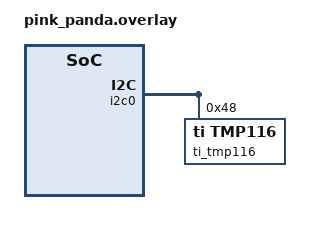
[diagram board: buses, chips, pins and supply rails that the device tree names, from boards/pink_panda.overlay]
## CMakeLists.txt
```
#-------------------------------------------------------------------------------
# Zephyr Example Application
#
# Copyright (c) 2022 François Gervais
# SPDX-License-Identifier: Apache-2.0

list(APPEND OVERLAY_CONFIG "thread-med.conf")
list(APPEND OVERLAY_CONFIG "secret.conf")
list(APPEND OVERLAY_CONFIG "dns.conf")
list(APPEND OVERLAY_CONFIG "mqtt.conf")

cmake_minimum_required(VERSION 3.20.0)
list(APPEND BOARD_ROOT ${CMAKE_CURRENT_SOURCE_DIR})
find_package(Zephyr REQUIRED HINTS $ENV{ZEPHYR_BASE})

execute_process(COMMAND git describe
                WORKING_DIRECTORY ${CMAKE_CURRENT_SOURCE_DIR}
                OUTPUT_VARIABLE GIT_DESCRIBE
                ERROR_QUIET)
string(STRIP "${GIT_DESCRIBE}" GIT_DESCRIBE)
STRING(REGEX MATCH "[0-9]+\\.[0-9]+\\.[0-9]+"
       VERSION "${GIT_DESCRIBE}")

project(app LANGUAGES C VERSION ${VERSION})

configure_file(app_version.h.in ${CMAKE_BINARY_DIR}/app/include/app_version.h)
target_include_directories(app PRIVATE ${CMAKE_BINARY_DIR}/app/include src)

target_sources(app PRIVATE src/drv_ir.c)
target_sources(app PRIVATE src/mqtt.c)
target_sources(app PRIVATE src/ha.c)
target_sources(app PRIVATE src/openthread.c)
target_sources(app PRIVATE src/main.c)

zephyr_include_directories(
 configuration/${BOARD}
 )
```

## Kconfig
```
# Private config options

mainmenu "AC Control Application"

config APP_MQTT_SERVER_HOSTNAME
	string "MQTT server hostname"
	help
	  Hostname of MQTT server.

config APP_MQTT_SERVER_ADDR
	string "MQTT server address"
	help
	  MQTT server address.

config APP_MQTT_SERVER_PORT
	int "MQTT server port number"
	default 1883
	help
	  MQTT server port number.

config APP_POLL_THREAD_STACK_SIZE
	int "Poll thread stack size"
	default 2048
	help
	  Poll thread stack size.

config APP_STATE_INPUT_PORT
	int "GPIO port number for state input"
	default 0
	help
	  GPIO port number for state input.

config APP_STATE_INPUT_PIN
	int "GPIO pin number for state input"
	default 21
	help
	  GPIO pin number for state input.

source "Kconfig.zephyr"
```

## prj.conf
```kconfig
CONFIG_APP_MQTT_SERVER_HOSTNAME="home.home.arpa"
CONFIG_APP_STATE_INPUT_PIN=10

CONFIG_SENSOR=y
CONFIG_WATCHDOG=y
CONFIG_SERIAL=y
CONFIG_HEAP_MEM_POOL_SIZE=2048

CONFIG_PM_DEVICE=y

CONFIG_CAF=y
CONFIG_CAF_BUTTONS=y
CONFIG_CAF_BUTTONS_POLARITY_INVERSED=y

CONFIG_NRFX_GPIOTE_NUM_OF_EVT_HANDLERS=1
CONFIG_NRFX_PWM0=y

CONFIG_EVENTS=y

CONFIG_CONSOLE=y
CONFIG_UART_CONSOLE=y
CONFIG_HWINFO=y
CONFIG_NEWLIB_LIBC_FLOAT_PRINTF=y
CONFIG_JSON_LIBRARY=y
CONFIG_LOG=y
```

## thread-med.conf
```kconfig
CONFIG_FPU=y

CONFIG_SYSTEM_WORKQUEUE_STACK_SIZE=2048

# CONFIG_OPENTHREAD_MANUAL_START is not set

CONFIG_OPENTHREAD_SLAAC=y
CONFIG_OPENTHREAD_CHANNEL=15
CONFIG_OPENTHREAD_NETWORK_NAME="home"
CONFIG_OPENTHREAD_XPANID="42:24:00:00:00:00:10:00"
CONFIG_OPENTHREAD_MTD=y

CONFIG_NETWORKING=y
CONFIG_NET_L2_OPENTHREAD=y

CONFIG_NET_TCP=y
```

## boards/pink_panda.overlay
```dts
/* Copyright (c) 2020 Nordic Semiconductor ASA
 *
 * SPDX-License-Identifier: LicenseRef-Nordic-5-Clause
 */

/ {
	/*
	* In some default configurations within the nRF Connect SDK,
	* e.g. on nRF52840, the chosen zephyr,entropy node is &cryptocell.
	* This devicetree overlay ensures that default is overridden wherever it
	* is set, as this application uses the RNG node for entropy exclusively.
	*/
	chosen {
		zephyr,entropy = &rng;
	};
};
&pinctrl {
	uart0_default: uart0_default {
		group1 {
			psels = <NRF_PSEL(UART_TX, 0, 20)>,
				<NRF_PSEL(UART_RTS, 0, 17)>;
		};
		group2 {
			psels = <NRF_PSEL(UART_RX, 0, 24)>,
				<NRF_PSEL(UART_CTS, 0, 22)>;
			bias-pull-up;
		};
	};

	uart0_sleep: uart0_sleep {
		group1 {
			psels = <NRF_PSEL(UART_TX, 0, 20)>,
				<NRF_PSEL(UART_RX, 0, 24)>,
				<NRF_PSEL(UART_RTS, 0, 17)>,
				<NRF_PSEL(UART_CTS, 0, 22)>;
			low-power-enable;
		};
	};

	i2c0_default: i2c0_default {
		group1 {
			psels = <NRF_PSEL(TWIM_SDA, 1, 10)>,
				<NRF_PSEL(TWIM_SCL, 1, 14)>;
		};
	};

	i2c0_sleep: i2c0_sleep {
		group1 {
			psels = <NRF_PSEL(TWIM_SDA, 1, 10)>,
				<NRF_PSEL(TWIM_SCL, 1, 14)>;
			low-power-enable;
		};
	};

	i2c1_default: i2c1_default {
		group1 {
			psels = <NRF_PSEL(TWIM_SDA, 0, 30)>,
				<NRF_PSEL(TWIM_SCL, 0, 31)>;
		};
	};

	i2c1_sleep: i2c1_sleep {
		group1 {
			psels = <NRF_PSEL(TWIM_SDA, 0, 30)>,
				<NRF_PSEL(TWIM_SCL, 0, 31)>;
			low-power-enable;
		};
	};

	pwm0_default: pwm0_default {
		group1 {
			psels = <NRF_PSEL(PWM_OUT0, 0, 9)>;
		};
	};

	pwm0_sleep: pwm0_sleep {
		group1 {
			psels = <NRF_PSEL(PWM_OUT0, 0, 9)>;
			low-power-enable;
		};
	};

	spi0_default: spi0_default {
		group1 {
			psels = <NRF_PSEL(SPIM_SCK, 0, 27)>,
				<NRF_PSEL(SPIM_MOSI, 0, 26)>,
				<NRF_PSEL(SPIM_MISO, 1, 10)>;
		};
	};

	spi0_sleep: spi0_sleep {
		group1 {
			psels = <NRF_PSEL(SPIM_SCK, 0, 27)>,
				<NRF_PSEL(SPIM_MOSI, 0, 26)>,
				<NRF_PSEL(SPIM_MISO, 1, 10)>;
			low-power-enable;
		};
	};

	spi1_default: spi1_default {
		group1 {
			psels = <NRF_PSEL(SPIM_SCK, 0, 31)>,
				<NRF_PSEL(SPIM_MOSI, 0, 30)>,
				<NRF_PSEL(SPIM_MISO, 1, 13)>;
		};
	};

	spi1_sleep: spi1_sleep {
		group1 {
			psels = <NRF_PSEL(SPIM_SCK, 0, 31)>,
				<NRF_PSEL(SPIM_MOSI, 0, 30)>,
				<NRF_PSEL(SPIM_MISO, 1, 13)>;
			low-power-enable;
		};
	};

};
&adc {
	status = "disabled";
};
&uart1 {
	status = "disabled";
};
// &pwm0 {
// 	status = "disabled";
// };
&i2c0 {
	ti_tmp116: ti_tmp116@48 {
		compatible = "ti,tmp116";
		reg = <0x48>;
		#address-cells = <1>;
		#size-cells = <0>;

		eeprom: ti_tmp116_eeprom@0 {
			compatible = "ti,tmp116-eeprom";
			reg = <0x0>;
			read-only;
		};
	};
};
&spi0 {
	status = "disabled";
};
&spi1 {
	status = "disabled";
};
&spi2 {
	status = "disabled";
};
&spi3 {
	status = "disabled";
};
&qspi {
	status = "disabled";
};
&usbd {
	status = "disabled";
};
// Waiting from https://github.com/zephyrproject-rtos/zephyr/pull/55955
// &gpio1 {
// 	status = "disabled";
// };
```

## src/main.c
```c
#include <zephyr/drivers/gpio.h>
#include <zephyr/drivers/sensor.h>
#include <zephyr/kernel.h>
#include <zephyr/pm/device.h>

#include <app_event_manager.h>

#define MODULE main
#include <caf/events/module_state_event.h>
#include <caf/events/button_event.h>

#include <zephyr/logging/log.h>
LOG_MODULE_REGISTER(main, LOG_LEVEL_DBG);

#include "drv_ir.h"
#include "ha.h"
#include "openthread.h"


#define TMP116_NODE DT_COMPAT_GET_ANY_STATUS_OKAY(ti_tmp116)

#define CHANGE_MODE_EVENT_OFF		BIT(0)
#define CHANGE_MODE_EVENT_COOL		BIT(1)
#define CHANGE_SETPOINT_EVENT		BIT(2)
#define CHANGE_STATE_EVENT		BIT(8)

#define INIT_RETRY_DELAY_MSEC		100
#define INIT_RETRY_TIMEOUT_MSEC		(5 * 1000)


static double temperature_setpoint = -1;
static bool current_state_off = true;
static bool temperature_setpoint_initialized = false;
static bool current_state_initialized = false;
static bool enabled;

static K_EVENT_DEFINE(ac_control_events);

static void mode_change_callback(const char *mode)
{
	if (!current_state_initialized) {
		current_state_off = strcmp(mode, "off");
		current_state_initialized = true;
		return;
	}

	if (!enabled) {
		LOG_INF("currently disabled");
		return;
	}

	if (strcmp(mode, "cool") == 0) {
		LOG_INF("❄️  mode %s", mode);
		k_event_post(&ac_control_events, CHANGE_MODE_EVENT_COOL);
	}
	else if (strcmp(mode, "off") == 0) {
		LOG_INF("🔌 mode %s", mode);
		k_event_post(&ac_control_events, CHANGE_MODE_EVENT_OFF);
	}
	else {
		LOG_WRN("unknown mode: %s", mode);
	}
}

static void temperature_setpoint_change_callback(double setpoint)
{
	LOG_INF("🌡️  setpoint: %g°C", setpoint);
	temperature_setpoint = setpoint;

	if (!temperature_setpoint_initialized) {
		temperature_setpoint_initialized = true;
		return;
	}

	if (!enabled) {
		LOG_INF("currently disabled");
		return;
	}

	k_event_post(&ac_control_events, CHANGE_SETPOINT_EVENT);
}

double get_current_temperature(const struct device *const dev)
{
	int ret;
	struct sensor_value temp_value;

	ret = sensor_sample_fetch(dev);
	if (ret) {
		LOG_ERR("Failed to fetch measurements (%d)", ret);
		return 0;
	}

	ret = sensor_channel_get(dev, SENSOR_CHAN_AMBIENT_TEMP,
				 &temp_value);
	if (ret) {
		LOG_ERR("Failed to get measurements (%d)", ret);
		return 0;
	}

	return sensor_value_to_double(&temp_value);
}

bool get_current_device_state(const struct device *port, gpio_pin_t pin)
{
	return (bool)gpio_pin_get_raw(port, pin);
}

void broadcast_current_temp(const struct device *pwm0,
			    const struct device *const tmp117)
{
	int ret;
	double current_temp;

	current_temp = get_current_temperature(tmp117);
	LOG_INF("   └── 🌡️  current temp: %g°C", current_temp);

	ha_send_current_temp(current_temp);

	if (!current_state_off) {
		ret = drv_ir_send_ifeel(pwm0, current_temp);
		if (ret < 0) {
			LOG_ERR("could not send IR command");
		}
	}
}

void main(void)
{
	uint32_t events;
	int ret;
	int retry = 0;

	const struct device *pwm0 = DEVICE_DT_GET(DT_NODELABEL(pwm0));
	const struct device *gpios[] = {
		DEVICE_DT_GET(DT_NODELABEL(gpio0)),
		DEVICE_DT_GET(DT_NODELABEL(gpio1)),
	};
	const struct device *const tmp117 = DEVICE_DT_GET(TMP116_NODE);


	LOG_INF("\n\n👟 MAIN START 👟\n");

	if (app_event_manager_init()) {
		LOG_ERR("Event manager not initialized");
	} else {
		module_set_state(MODULE_STATE_READY);
	}

	if (!device_is_ready(tmp117)) {
		LOG_ERR("%s: device not ready", tmp117->name);
		return;
	}
	LOG_INF("Device %s - %p is ready", tmp117->name, tmp117);

	openthread_enable_ready_flag();

	while (!openthread_ready)
		k_sleep(K_MSEC(100));

	// Something else is not ready, not sure what
	k_sleep(K_MSEC(100));

	ha_start(mode_change_callback, temperature_setpoint_change_callback);

	enabled = get_current_device_state(gpios[CONFIG_APP_STATE_INPUT_PORT],
					   CONFIG_APP_STATE_INPUT_PIN);
	// Will trigger a state change event on first wait to send hw state to HA
	k_event_post(&ac_control_events, CHANGE_STATE_EVENT);

	while (!temperature_setpoint_initialized || !current_state_initialized) {
		retry++;
		if (retry % 10) {
			LOG_INF("waiting initialization");
		}
		if (retry >= (int)(INIT_RETRY_TIMEOUT_MSEC / INIT_RETRY_DELAY_MSEC)) {
			if (!temperature_setpoint_initialized) {
				temperature_setpoint = 22;
				temperature_setpoint_initialized = true;
			}
			if (!current_state_initialized) {
				current_state_off = true;
				current_state_initialized = true;
			}
			break;
		}
		k_sleep(K_MSEC(INIT_RETRY_DELAY_MSEC));
	}

	LOG_INF("🆗 initialized");

	broadcast_current_temp(pwm0, tmp117);

	LOG_INF("┌──────────────────────────────────────────────────────────┐");
	LOG_INF("│ Entering main loop                                       │");
	LOG_INF("└──────────────────────────────────────────────────────────┘");

	while (1) {
		LOG_INF("💤 wait");

		events = k_event_wait(&ac_control_events,
			     (CHANGE_STATE_EVENT |
			      CHANGE_SETPOINT_EVENT |
			      CHANGE_MODE_EVENT_COOL |
			      CHANGE_MODE_EVENT_OFF),
			     false, K_MINUTES(3));

		k_event_set(&ac_control_events, 0);

		LOG_INF("⏰ events: %08x", events);

		if (events == 0) {
			LOG_INF("📡 broadcast current temperature");
			broadcast_current_temp(pwm0, tmp117);
			continue;
		}

		if (current_state_off && (events & CHANGE_MODE_EVENT_COOL)) {
			LOG_INF("📡 turn ON");
			ret = drv_ir_send_on(pwm0, temperature_setpoint);
			if (ret < 0) {
				LOG_ERR("could not send IR command");
			}
			current_state_off = false;

			k_sleep(K_SECONDS(1));
			broadcast_current_temp(pwm0, tmp117);

		}
		else if (!current_state_off && (events & CHANGE_MODE_EVENT_OFF)) {
			LOG_INF("📡 turn OFF");
			ret = drv_ir_send_off(pwm0, temperature_setpoint);
			if (ret < 0) {
				LOG_ERR("could not send IR command");
			}
			current_state_off = true;
		}

		if ((events & CHANGE_SETPOINT_EVENT) && !current_state_off) {
			LOG_INF("📡 change setpoint: %g°C", temperature_setpoint);
			ret = drv_ir_send_on(pwm0, temperature_setpoint);
			if (ret < 0) {
				LOG_ERR("could not send IR command");
			}

			k_sleep(K_SECONDS(1));
			broadcast_current_temp(pwm0, tmp117);
		}

		if (events & CHANGE_STATE_EVENT) {
			if (enabled) {
				LOG_INF("✅ enabled");
			}
			else {
				LOG_INF("❌ disabled");
			}
			ha_send_current_state(enabled);
		}
	}
}

static bool event_handler(const struct app_event_header *eh)
{
	const struct button_event *evt;

	if (is_button_event(eh)) {
		evt = cast_button_event(eh);

		if (!evt->pressed) {
			enabled = true;
		}
		else {
			enabled = false;
		}

		k_event_post(&ac_control_events, CHANGE_STATE_EVENT);
	}

	return true;
}

APP_EVENT_LISTENER(MODULE, event_handler);
APP_EVENT_SUBSCRIBE(MODULE, button_event);
```

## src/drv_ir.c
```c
/**
 * Copyright (c) 2016 - 2018, Nordic Semiconductor ASA
 * 
 * All rights reserved.
 * 
 * Redistribution and use in source and binary forms, with or without modification,
 * are permitted provided that the following conditions are met:
 * 
 * 1. Redistributions of source code must retain the above copyright notice, this
 *    list of conditions and the following disclaimer.
 * 
 * 2. Redistributions in binary form, except as embedded into a Nordic
 *    Semiconductor ASA integrated circuit in a product or a software update for
 *    such product, must reproduce the above copyright notice, this list of
 *    conditions and the following disclaimer in the documentation and/or other
 *    materials provided with the distribution.
 * 
 * 3. Neither the name of Nordic Semiconductor ASA nor the names of its
 *    contributors may be used to endorse or promote products derived from this
 *    software without specific prior written permission.
 * 
 * 4. This software, with or without modification, must only be used with a
 *    Nordic Semiconductor ASA integrated circuit.
 * 
 * 5. Any software provided in binary form under this license must not be reverse
 *    engineered, decompiled, modified and/or disassembled.
 * 
 * THIS SOFTWARE IS PROVIDED BY NORDIC SEMICONDUCTOR ASA "AS IS" AND ANY EXPRESS
 * OR IMPLIED WARRANTIES, INCLUDING, BUT NOT LIMITED TO, THE IMPLIED WARRANTIES
 * OF MERCHANTABILITY, NONINFRINGEMENT, AND FITNESS FOR A PARTICULAR PURPOSE ARE
 * DISCLAIMED. IN NO EVENT SHALL NORDIC SEMICONDUCTOR ASA OR CONTRIBUTORS BE
 * LIABLE FOR ANY DIRECT, INDIRECT, INCIDENTAL, SPECIAL, EXEMPLARY, OR
 * CONSEQUENTIAL DAMAGES (INCLUDING, BUT NOT LIMITED TO, PROCUREMENT OF SUBSTITUTE
 * GOODS OR SERVICES; LOSS OF USE, DATA, OR PROFITS; OR BUSINESS INTERRUPTION)
 * HOWEVER CAUSED AND ON ANY THEORY OF LIABILITY, WHETHER IN CONTRACT, STRICT
 * LIABILITY, OR TORT (INCLUDING NEGLIGENCE OR OTHERWISE) ARISING IN ANY WAY OUT
 * OF THE USE OF THIS SOFTWARE, EVEN IF ADVISED OF THE POSSIBILITY OF SUCH DAMAGE.
 * 
 *  * Copyright (c) 2018, Cue Health Inc
 *
 * SPDX-License-Identifier: Apache-2.0
 */

#include <nrfx_pwm.h>
#include <zephyr/drivers/pinctrl.h>
#include <zephyr/pm/device.h>

#include <zephyr/logging/log.h>
LOG_MODULE_REGISTER(drv_ir, LOG_LEVEL_DBG);


#define NEC_GUARD_ZEROS         1
#define TRAILING_SEQUENCE_BITS  8
#define FRAME_BITS              28
#define EXT_FRAME_BITS          32
#define IFEEL_FRAME_BITS        8

#define NEC_TOP_VALUE           421      // 38kHz carrier 26.3125 usec for 16MHz PWM_CLK
#define NEC_SYMBOL_REPEATS      21       // repeat each symbol 21 times - 21*26.3125=552.5625 us

#define NEC_MARK_SYMBOL         0x808C   // 140/421 (1/16000000 sec)  - duty 1/3
#define NEC_SPACE_SYMBOL        0x8000


// 9 ms high, 4.4 ms low
const uint16_t NEC_START[] =
	{ NEC_MARK_SYMBOL,  NEC_MARK_SYMBOL,  NEC_MARK_SYMBOL,  NEC_MARK_SYMBOL, \
	  NEC_MARK_SYMBOL,  NEC_MARK_SYMBOL,  NEC_MARK_SYMBOL,  NEC_MARK_SYMBOL, \
	  NEC_MARK_SYMBOL,  NEC_MARK_SYMBOL,  NEC_MARK_SYMBOL,  NEC_MARK_SYMBOL, \
	  NEC_MARK_SYMBOL,  NEC_MARK_SYMBOL,  NEC_MARK_SYMBOL,  NEC_MARK_SYMBOL, \
	  NEC_SPACE_SYMBOL, NEC_SPACE_SYMBOL, NEC_SPACE_SYMBOL, NEC_SPACE_SYMBOL,\
	  NEC_SPACE_SYMBOL, NEC_SPACE_SYMBOL, NEC_SPACE_SYMBOL, NEC_SPACE_SYMBOL};

// 6 ms high, 3 ms low
const uint16_t IFEEL_START[] =
	{ NEC_MARK_SYMBOL,  NEC_MARK_SYMBOL,  NEC_MARK_SYMBOL,  NEC_MARK_SYMBOL, \
	  NEC_MARK_SYMBOL,  NEC_MARK_SYMBOL,  NEC_MARK_SYMBOL,  NEC_MARK_SYMBOL, \
	  NEC_MARK_SYMBOL,  NEC_MARK_SYMBOL,					 \
	  NEC_SPACE_SYMBOL, NEC_SPACE_SYMBOL, NEC_SPACE_SYMBOL, NEC_SPACE_SYMBOL,\
	  NEC_SPACE_SYMBOL };

// 1010 0101
const uint16_t TRAILING_SEQUENCE[] =
	{ NEC_MARK_SYMBOL, NEC_SPACE_SYMBOL, NEC_SPACE_SYMBOL , NEC_SPACE_SYMBOL, \
	  NEC_MARK_SYMBOL, NEC_SPACE_SYMBOL,					  \
	  NEC_MARK_SYMBOL, NEC_SPACE_SYMBOL, NEC_SPACE_SYMBOL , NEC_SPACE_SYMBOL, \
	  NEC_MARK_SYMBOL, NEC_SPACE_SYMBOL,					  \
	  NEC_MARK_SYMBOL, NEC_SPACE_SYMBOL,					  \
	  NEC_MARK_SYMBOL, NEC_SPACE_SYMBOL, NEC_SPACE_SYMBOL , NEC_SPACE_SYMBOL, \
	  NEC_MARK_SYMBOL, NEC_SPACE_SYMBOL,					  \
	  NEC_MARK_SYMBOL, NEC_SPACE_SYMBOL, NEC_SPACE_SYMBOL , NEC_SPACE_SYMBOL };

// 19 ms low
const uint16_t EXT_FRAME_SPACE[] =
	{ NEC_SPACE_SYMBOL, NEC_SPACE_SYMBOL, NEC_SPACE_SYMBOL, NEC_SPACE_SYMBOL,\
	  NEC_SPACE_SYMBOL, NEC_SPACE_SYMBOL, NEC_SPACE_SYMBOL, NEC_SPACE_SYMBOL,\
	  NEC_SPACE_SYMBOL, NEC_SPACE_SYMBOL, NEC_SPACE_SYMBOL, NEC_SPACE_SYMBOL,\
	  NEC_SPACE_SYMBOL, NEC_SPACE_SYMBOL, NEC_SPACE_SYMBOL, NEC_SPACE_SYMBOL,\
	  NEC_SPACE_SYMBOL, NEC_SPACE_SYMBOL, NEC_SPACE_SYMBOL, NEC_SPACE_SYMBOL,\
	  NEC_SPACE_SYMBOL, NEC_SPACE_SYMBOL, NEC_SPACE_SYMBOL, NEC_SPACE_SYMBOL,\
	  NEC_SPACE_SYMBOL, NEC_SPACE_SYMBOL, NEC_SPACE_SYMBOL, NEC_SPACE_SYMBOL,\
	  NEC_SPACE_SYMBOL, NEC_SPACE_SYMBOL, NEC_SPACE_SYMBOL, NEC_SPACE_SYMBOL,\
	  NEC_SPACE_SYMBOL, NEC_SPACE_SYMBOL };

const uint16_t NEC_ONE[] =
	{ NEC_MARK_SYMBOL, NEC_SPACE_SYMBOL, NEC_SPACE_SYMBOL , NEC_SPACE_SYMBOL };

const uint16_t NEC_ZERO[] =
	{ NEC_MARK_SYMBOL, NEC_SPACE_SYMBOL };

#define MAX_SEQ_SIZE    ARRAY_SIZE(NEC_START) + \
			(FRAME_BITS) * MAX(ARRAY_SIZE(NEC_ZERO), ARRAY_SIZE(NEC_ONE)) + \
			ARRAY_SIZE(TRAILING_SEQUENCE) + \
			ARRAY_SIZE(EXT_FRAME_SPACE) + \
			(EXT_FRAME_BITS) * MAX(ARRAY_SIZE(NEC_ZERO), ARRAY_SIZE(NEC_ONE)) + \
			(NEC_GUARD_ZEROS * ARRAY_SIZE(NEC_ZERO))

#define FRAME_MODE_OFFSET		0
#define FRAME_ON_OFFSET			3
#define FRAME_FAN_OFFSET		4
#define FRAME_OSCILLATING_OFFSET	6
#define FRAME_SLEEP_OFFSET		7
#define FRAME_SETPOINT_OFFSET	8
#define FRAME_TIMER_OFFSET		12
#define FRAME_TURBO_OFFSET		20
#define FRAME_LIGHT_OFFSET		21
#define FRAME_TREE_OFFSET		22
#define FRAME_XFAN_OFFSET		23
#define FRAME_SCAVENGING_OFFSET		24
#define FRAME_SET_CONFIG_OFFSET		27

#define EXT_FRAME_SWING_OFFSET		0
#define EXT_FRAME_TEMP_SHOW_OFFSET	8
#define EXT_FRAME_I_FEEL_OFFSET		10
#define EXT_FRAME_UNKNOWN_OFFSET	12
#define EXT_FRAME_SETPOINT_OFFSET	28


#define TEMP_BASE_VALUE			16

#define FRAME_MODE_COOLING		0x1
#define FRAME_FAN_AUTO			0x0
#define FRAME_FAN_1			0x1
#define FRAME_FAN_2			0x2
#define FRAME_FAN_3			0x3
#define FRAME_FAN_3			0x3

#define EXT_FRAME_SWING_OFF		0x0
#define EXT_FRAME_SWING_ALL		0x1
#define EXT_FRAME_SWING_FIX_1		0x2 // Highest
#define EXT_FRAME_SWING_FIX_2		0x3 // .
#define EXT_FRAME_SWING_FIX_3		0x4 // .
#define EXT_FRAME_SWING_FIX_4		0x5 // .
#define EXT_FRAME_SWING_FIX_5		0x6 // Lowest
#define EXT_FRAME_SWING_LOW		0x7
#define EXT_FRAME_SWING_MID		0x9
#define EXT_FRAME_SWING_MID		0x9
#define EXT_FRAME_TEMP_SHOW_ALL		0x0
#define EXT_FRAME_TEMP_SET		0x1
#define EXT_FRAME_TEMP_SHOW_IN		0x2
#define EXT_FRAME_TEMP_SHOW_OUT		0x3
#define EXT_FRAME_UNKNOWN_VAL		0x2
#define EXT_FRAME_COOLING_TEMP_OFFSET_C	0x5


struct pwm_nrfx_config {
	nrfx_pwm_t pwm;
	nrfx_pwm_config_t initial_config;
#ifdef CONFIG_PINCTRL
	const struct pinctrl_dev_config *pcfg;
#endif
};

struct pwm_nrfx_data {
	uint16_t seq_values[MAX_SEQ_SIZE];
	nrf_pwm_sequence_t	 seq;
};


static void insert_start_symbol(uint16_t **seq)
{
	memcpy(*seq, NEC_START, sizeof(NEC_START));
	*seq += ARRAY_SIZE(NEC_START);
}

static void insert_ifeel_start_symbol(uint16_t **seq)
{
	memcpy(*seq, IFEEL_START, sizeof(IFEEL_START));
	*seq += ARRAY_SIZE(IFEEL_START);
}

static void insert_trailing_sequence(uint16_t **seq)
{
	memcpy(*seq, TRAILING_SEQUENCE, sizeof(TRAILING_SEQUENCE));
	*seq += ARRAY_SIZE(TRAILING_SEQUENCE);
}

static void insert_ext_frame_space(uint16_t **seq)
{
	memcpy(*seq, EXT_FRAME_SPACE, sizeof(EXT_FRAME_SPACE));
	*seq += ARRAY_SIZE(EXT_FRAME_SPACE);
}

static void insert_one_symbol(uint16_t **seq)
{
	memcpy(*seq, NEC_ONE, sizeof(NEC_ONE));
	*seq += ARRAY_SIZE(NEC_ONE);
}

static void insert_zero_symbol(uint16_t **seq)
{
	memcpy(*seq, NEC_ZERO, sizeof(NEC_ZERO));
	*seq += ARRAY_SIZE(NEC_ZERO);
}

static void binary_to_symbol(uint32_t val, size_t len, uint16_t **seq)
{
	uint32_t local;

	local = val;

	for (int i = 0; i < len; i++)
	{
		if (local & 0x01)
		{
			insert_one_symbol(seq);
		}
		else
		{
			insert_zero_symbol(seq);
		}

		local = local >> 1;
	}
}

static uint16_t encode_frame(const struct device *dev,
			     const uint32_t *frame,
			     const uint32_t *ext_frame,
			     uint16_t *buf)
{
	uint16_t *seq;
	int i;

	seq = buf;
	insert_start_symbol(&seq);

	binary_to_symbol(*frame, FRAME_BITS, &seq);
	insert_trailing_sequence(&seq);

	insert_ext_frame_space(&seq);

	binary_to_symbol(*ext_frame, EXT_FRAME_BITS, &seq);

	for (i = 0; i < NEC_GUARD_ZEROS; i++)
	{
		insert_zero_symbol(&seq);
	}

	return (uint16_t)(seq - buf);
}

static uint16_t encode_ifeel_frame(const struct device *dev,
				   const uint8_t *ifeel_frame,
				   uint16_t *buf)
{
	uint16_t *seq;
	int i;

	seq = buf;
	insert_ifeel_start_symbol(&seq);

	binary_to_symbol(*ifeel_frame, IFEEL_FRAME_BITS, &seq);
	insert_trailing_sequence(&seq);

	for (i = 0; i < NEC_GUARD_ZEROS; i++)
	{
		insert_zero_symbol(&seq);
	}

	return (uint16_t)(seq - buf);
}

#define POLL_STOP_RETRY	10
static int transmit_sequence(const struct device *dev)
{
	const struct pwm_nrfx_config *config = dev->config;
	struct pwm_nrfx_data *data = dev->data;
	int retry = POLL_STOP_RETRY;

	while (!nrfx_pwm_is_stopped(&config->pwm) && retry) {
		LOG_DBG("stopped: %d", nrfx_pwm_is_stopped(&config->pwm));
		retry--;
		k_sleep(K_MSEC(100));
	}

	if (retry == 0) {
		LOG_ERR("pwm did not stop");
		return -EBUSY;
	}

	nrfx_pwm_simple_playback(&config->pwm,
				 &data->seq,
				 1,
				 NRFX_PWM_FLAG_STOP);

	return 0;
}

static int fill_on(uint32_t *frame,
		   uint32_t *ext_frame,
		   uint8_t temperature_setpoint)
{
	LOG_DBG("temperature setpoint: %d", temperature_setpoint);

	*frame = 0;
	*ext_frame = 0;

	*frame |= FRAME_MODE_COOLING << FRAME_MODE_OFFSET;
	*frame |= 1 << FRAME_ON_OFFSET;
	*frame |= 1 << FRAME_OSCILLATING_OFFSET;
	*frame |= (temperature_setpoint - TEMP_BASE_VALUE)
		 << FRAME_SETPOINT_OFFSET;
	*frame |= 1 << FRAME_LIGHT_OFFSET;

	*ext_frame |= EXT_FRAME_SWING_ALL << EXT_FRAME_SWING_OFFSET;
	*ext_frame |= EXT_FRAME_TEMP_SHOW_ALL << EXT_FRAME_TEMP_SHOW_OFFSET;
	*ext_frame |= 1 << EXT_FRAME_I_FEEL_OFFSET;
	*ext_frame |= EXT_FRAME_UNKNOWN_VAL << EXT_FRAME_UNKNOWN_OFFSET;
	*ext_frame |= (((temperature_setpoint - TEMP_BASE_VALUE)
			+ EXT_FRAME_COOLING_TEMP_OFFSET_C) & 0x0F
		    ) << EXT_FRAME_SETPOINT_OFFSET;

	return 0;
}

static int send_frame(const int32_t *frame,
		      const uint32_t *ext_frame,
		      const struct device *dev)
{
	struct pwm_nrfx_data *data = dev->data;
	int ret;

	LOG_INF("Frame: %08x", *frame);
	LOG_INF("Extended frame: %08x", *ext_frame);

	data->seq.length = encode_frame(
		dev, frame, ext_frame, data->seq_values);

	LOG_INF("Frame length: 0x%x", data->seq.length);
	LOG_INF("Transmission ready");

	ret = transmit_sequence(dev);
	if (ret < 0) {
		return ret;
	}

	LOG_INF("Transmission requested");

	return 0;
}

int drv_ir_send_on(const struct device *dev, uint8_t temperature_setpoint)
{
	uint32_t frame;
	uint32_t ext_frame;
	int ret;

	fill_on(&frame, &ext_frame, temperature_setpoint);

	ret = send_frame(&frame, &ext_frame, dev);
	if (ret < 0) {
		return ret;
	}

	return 0;
}

int drv_ir_send_off(const struct device *dev, uint8_t temperature_setpoint)
{
	uint32_t frame;
	uint32_t ext_frame;
	int ret;

	fill_on(&frame, &ext_frame, temperature_setpoint);
	frame &= ~(1 << FRAME_ON_OFFSET);
	ext_frame ^= (BIT(3) << EXT_FRAME_SETPOINT_OFFSET);

	ret = send_frame(&frame, &ext_frame, dev);
	if (ret < 0) {
		return ret;
	}

	return 0;
}

int drv_ir_send_ifeel(const struct device *dev, uint8_t current_temp)
{
	struct pwm_nrfx_data *data = dev->data;
	uint8_t ifeel_frame = 0;
	int ret;

	LOG_INF("Current temperature: %d", current_temp);

	ifeel_frame = current_temp;

	LOG_INF("Ifeel frame: %08x", ifeel_frame);

	data->seq.length = encode_ifeel_frame(
		dev, &ifeel_frame, data->seq_values);

	LOG_INF("Frame length: 0x%x", data->seq.length);
	LOG_INF("Transmission ready");

	ret = transmit_sequence(dev);
	if (ret < 0) {
		return ret;
	}

	LOG_INF("Transmission requested");

	return 0;
}

static int drv_ir_init(const struct device *dev)
{
	const struct pwm_nrfx_config *config = dev->config;

	LOG_INF("Init");

#ifdef CONFIG_PINCTRL
	int ret = pinctrl_apply_state(config->pcfg, PINCTRL_STATE_DEFAULT);

	if (ret < 0) {
		return ret;
	}
#endif

	nrfx_err_t result = nrfx_pwm_init(&config->pwm,
					  &config->initial_config,
					  NULL,
					  NULL);
	if (result != NRFX_SUCCESS) {
		LOG_ERR("Failed to initialize device: %s", dev->name);
		return -EBUSY;
	}

	return 0;
}

#ifdef CONFIG_PM_DEVICE
static void drv_ir_uninit(const struct device *dev)
{
	const struct pwm_nrfx_config *config = dev->config;

	nrfx_pwm_uninit(&config->pwm);

	memset(dev->data, 0, sizeof(struct pwm_nrfx_data));
}

static int drv_ir_pm_action(const struct device *dev,
			      enum pm_device_action action)
{
#ifdef CONFIG_PINCTRL
	const struct pwm_nrfx_config *config = dev->config;
#endif
	int ret = 0;

	switch (action) {
	case PM_DEVICE_ACTION_RESUME:
#ifdef CONFIG_PINCTRL
		ret = pinctrl_apply_state(config->pcfg, PINCTRL_STATE_DEFAULT);
		if (ret < 0) {
			return ret;
		}
#endif
		ret = drv_ir_init(dev);
		break;

	case PM_DEVICE_ACTION_SUSPEND:
		drv_ir_uninit(dev);

#ifdef CONFIG_PINCTRL
		ret = pinctrl_apply_state(config->pcfg, PINCTRL_STATE_SLEEP);
		if (ret < 0) {
			return ret;
		}
#endif
		break;

	default:
		return -ENOTSUP;
	}

	return ret;
}
#else

#define drv_ir_pm_action NULL

#endif /* CONFIG_PM_DEVICE */

#define PWM(dev_idx) DT_NODELABEL(pwm##dev_idx)
#define PWM_PROP(dev_idx, prop) DT_PROP(PWM(dev_idx), prop)

#define PWM_CH_INVERTED(dev_idx, ch_idx) \
	PWM_PROP(dev_idx, ch##ch_idx##_inverted)

#define PWM_OUTPUT_PIN(dev_idx, ch_idx)					\
	COND_CODE_1(DT_NODE_HAS_PROP(PWM(dev_idx), ch##ch_idx##_pin),	\
		(PWM_PROP(dev_idx, ch##ch_idx##_pin) |			\
			(PWM_CH_INVERTED(dev_idx, ch_idx)		\
			 ? NRFX_PWM_PIN_INVERTED : 0)),			\
		(NRFX_PWM_PIN_NOT_USED))

#define PWM_NRFX_DEVICE(idx)						      \
	NRF_DT_CHECK_PIN_ASSIGNMENTS(PWM(idx), 1,			      \
				     ch0_pin, ch1_pin, ch2_pin, ch3_pin);     \
	static struct pwm_nrfx_data pwm_nrfx_##idx##_data = {		      \
		.seq.values.p_raw = pwm_nrfx_##idx##_data.seq_values,	      \
		.seq.repeats = NEC_SYMBOL_REPEATS,			      \
	};								      \
	IF_ENABLED(CONFIG_PINCTRL, (PINCTRL_DT_DEFINE(PWM(idx))));	      \
	static struct pwm_nrfx_config pwm_nrfx_##idx##_config = {	      \
		.pwm = NRFX_PWM_INSTANCE(idx),				      \
		.initial_config = {					      \
			COND_CODE_1(CONFIG_PINCTRL,			      \
				(.skip_gpio_cfg = true,			      \
				 .skip_psel_cfg = true,),		      \
				(.output_pins = {			      \
					PWM_OUTPUT_PIN(idx, 0),		      \
					PWM_OUTPUT_PIN(idx, 1),		      \
					PWM_OUTPUT_PIN(idx, 2),		      \
					PWM_OUTPUT_PIN(idx, 3),		      \
				 },))					      \
			.base_clock = NRF_PWM_CLK_16MHz,		      \
			.count_mode = (PWM_PROP(idx, center_aligned)	      \
				       ? NRF_PWM_MODE_UP_AND_DOWN	      \
				       : NRF_PWM_MODE_UP),		      \
			.top_value = NEC_TOP_VALUE,			      \
			.load_mode = NRF_PWM_LOAD_COMMON,		      \
			.step_mode = NRF_PWM_STEP_AUTO,			      \
		},							      \
		IF_ENABLED(CONFIG_PINCTRL,				      \
			(.pcfg = PINCTRL_DT_DEV_CONFIG_GET(PWM(idx)),))	      \
	};								      \
	PM_DEVICE_DT_DEFINE(PWM(idx), drv_ir_pm_action);		      \
	DEVICE_DT_DEFINE(PWM(idx),					      \
			 drv_ir_init, PM_DEVICE_DT_GET(PWM(idx)),	      \
			 &pwm_nrfx_##idx##_data,			      \
			 &pwm_nrfx_##idx##_config,			      \
			 POST_KERNEL, CONFIG_KERNEL_INIT_PRIORITY_DEVICE,     \
			 NULL)

#if DT_NODE_HAS_STATUS(DT_NODELABEL(pwm0), okay)
PWM_NRFX_DEVICE(0);
#endif

#if DT_NODE_HAS_STATUS(DT_NODELABEL(pwm1), okay)
PWM_NRFX_DEVICE(1);
#endif

#if DT_NODE_HAS_STATUS(DT_NODELABEL(pwm2), okay)
PWM_NRFX_DEVICE(2);
#endif

#if DT_NODE_HAS_STATUS(DT_NODELABEL(pwm3), okay)
PWM_NRFX_DEVICE(3);
#endif
```

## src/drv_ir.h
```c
#ifndef DRV_IR_H_
#define DRV_IR_H_

int drv_ir_send_on(const struct device *dev, uint8_t temperature_setpoint);
int drv_ir_send_ifeel(const struct device *dev, uint8_t current_temp);
int drv_ir_send_off(const struct device *dev, uint8_t temperature_setpoint);

#endif /* DRV_IR_H_ */
```

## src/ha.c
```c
#include <zephyr/logging/log.h>
LOG_MODULE_REGISTER(home_assistant, LOG_LEVEL_DBG);

#include <zephyr/data/json.h>
#include <zephyr/drivers/hwinfo.h>

#include <stdio.h>
#include <stdlib.h>
#include <app_version.h>

#include "mqtt.h"


#define DEVICE_ID_BYTE_SIZE	8


struct device {
	const char *identifiers;
	const char *name;
	const char *sw_version;
	const char *model;
	const char *manufacturer;
};

struct config {
	const char *base_path;
	const char *name;
	int initial;
	int min_temp;
	int max_temp;
	const char *modes[2];
	int number_of_modes;
	const char *mode_command_topic;
	const char *temperature_command_topic;
	const char *current_temperature_topic;
	const char *availability_topic;
	bool retain;
	struct device dev;
};


static char device_id[DEVICE_ID_BYTE_SIZE * 2 + 1];

static void callback_sub_set_mode(const char *payload);
static void callback_sub_set_temperature(const char *payload);

static struct config ac_config = {
	.base_path = "home/room/kitchen/climate/ac",
	.name = "Split Air Conditioner",
	.initial = 22,
	.min_temp = 16,
	.max_temp = 30,
	.modes = { "off", "cool" },
	.number_of_modes = 2,
	.mode_command_topic = "~/mode/set",
	.temperature_command_topic = "~/temperature/set",
	.current_temperature_topic = "~/temperature/current",
	.availability_topic = "~/available",
	.retain = true,
	.dev = {
		.identifiers = device_id,
		.name = "Split Air Conditioner",
		.sw_version = APP_VERSION_FULL,
		.model = "unknown",
		.manufacturer = "GREE ELECTRIC APPLIANCES INC.",	
	},
};

static const struct mqtt_subscription subs[] = {
	{
		.topic = "home/room/kitchen/climate/ac/mode/set",
		.callback = callback_sub_set_mode,
	},
	{
		.topic = "home/room/kitchen/climate/ac/temperature/set",
		.callback = callback_sub_set_temperature,
	},
};

static const char *last_will_topic = "home/room/kitchen/climate/ac/available";
static const char *last_will_message = "offline";

static const struct json_obj_descr device_descr[] = {
	JSON_OBJ_DESCR_PRIM(struct device, identifiers,	 JSON_TOK_STRING),
	JSON_OBJ_DESCR_PRIM(struct device, name,	 JSON_TOK_STRING),
	JSON_OBJ_DESCR_PRIM(struct device, sw_version,	 JSON_TOK_STRING),
	JSON_OBJ_DESCR_PRIM(struct device, model,	 JSON_TOK_STRING),
	JSON_OBJ_DESCR_PRIM(struct device, manufacturer, JSON_TOK_STRING),
};

static const struct json_obj_descr config_descr[] = {
	JSON_OBJ_DESCR_PRIM_NAMED(struct config, "~", base_path,	JSON_TOK_STRING),
	JSON_OBJ_DESCR_PRIM(struct config, name,			JSON_TOK_STRING),
	JSON_OBJ_DESCR_PRIM(struct config, initial,			JSON_TOK_NUMBER),
	JSON_OBJ_DESCR_PRIM(struct config, min_temp,			JSON_TOK_NUMBER),
	JSON_OBJ_DESCR_PRIM(struct config, max_temp,			JSON_TOK_NUMBER),
	JSON_OBJ_DESCR_ARRAY(struct config, modes, 2, number_of_modes,	JSON_TOK_STRING),
	JSON_OBJ_DESCR_PRIM(struct config, mode_command_topic,		JSON_TOK_STRING),
	JSON_OBJ_DESCR_PRIM(struct config, temperature_command_topic,	JSON_TOK_STRING),
	JSON_OBJ_DESCR_PRIM(struct config, current_temperature_topic,	JSON_TOK_STRING),
	JSON_OBJ_DESCR_PRIM(struct config, availability_topic,		JSON_TOK_STRING),
	JSON_OBJ_DESCR_PRIM(struct config, retain,			JSON_TOK_TRUE),
	JSON_OBJ_DESCR_OBJECT(struct config, dev, device_descr),
};

static void (*mode_change_callback)(const char *mode) = NULL;
static void (*temperature_setpoint_change_callback)(double setpoint) = NULL;

static void callback_sub_set_mode(const char *payload)
{
	LOG_INF("⚡ I've been called back: %s", payload);

	if (mode_change_callback) {
		mode_change_callback(payload);
	}
}

static void callback_sub_set_temperature(const char *payload)
{
	double temperature;

	LOG_INF("⚡ I've been called back: %s", payload);

	if (temperature_setpoint_change_callback) {
		temperature = atof(payload);
		temperature_setpoint_change_callback(temperature);
	}
}

static int get_device_id_string(char *id_string, size_t id_string_len)
{
	uint8_t dev_id[DEVICE_ID_BYTE_SIZE];
	ssize_t length;

	length = hwinfo_get_device_id(dev_id, sizeof(dev_id));

	if (length == -ENOTSUP) {
		LOG_ERR("Not supported by hardware");
		return -ENOTSUP;
	} else if (length < 0) {
		LOG_ERR("Error: %zd", length);
		return length;
	}

	bin2hex(dev_id, ARRAY_SIZE(dev_id), id_string, id_string_len);

	return 0;
}

static int ha_subscribe_to_topics(void)
{
	mqtt_subscribe_to_topic(subs, ARRAY_SIZE(subs));

	return 0;
}

// <discovery_prefix>/<component>/[<node_id>/]<object_id>/config
//
// Best practice for entities with a unique_id is to set <object_id> to
// unique_id and omit the <node_id>.
// https://www.home-assistant.io/integrations/mqtt/#discovery-topic
#define DISCOVERY_TOPIC_FORMAT_STRING	"homeassistant/climate/%s/config"
static int ha_send_discovery(void)
{
	int ret;
	char json_config[1024];
	char discovery_topic[sizeof(DISCOVERY_TOPIC_FORMAT_STRING) - 2
			     + DEVICE_ID_BYTE_SIZE * 2];

	snprintf(discovery_topic, sizeof(discovery_topic),
		 DISCOVERY_TOPIC_FORMAT_STRING, ac_config.dev.identifiers);

	LOG_DBG("discovery topic: %s", discovery_topic);

	ret = json_obj_encode_buf(config_descr, ARRAY_SIZE(config_descr),
				  &ac_config, json_config, sizeof(json_config));
	if (ret < 0) {
		LOG_ERR("Could not encode JSON (%d)", ret);
		return ret;
	}

	LOG_DBG("payload: %s", json_config);

	mqtt_publish_to_topic(discovery_topic, json_config, true);

	return 0;
}

int ha_send_current_temp(double current_temp)
{
	char topic[strlen(ac_config.base_path)
		   + strlen(ac_config.current_temperature_topic)];
	char temp_string[16];

	snprintf(topic, sizeof(topic),
		 "%s%s",
		 ac_config.base_path,
		 ac_config.current_temperature_topic + 1);

	snprintf(temp_string, sizeof(temp_string),
		 "%g",
		 current_temp);

	mqtt_publish_to_topic(topic, temp_string, false);

	return 0;
}

int ha_send_current_state(bool enabled)
{
	char topic[strlen(ac_config.base_path)
		   + strlen(ac_config.availability_topic)];
	
	snprintf(topic, sizeof(topic),
		 "%s%s",
		 ac_config.base_path,
		 ac_config.availability_topic + 1);

	mqtt_publish_to_topic(topic, enabled ? "online" : "offline", true);

	return 0;
}

int ha_start(void (*mode_change_cb)(const char *mode),
	     void (*temperature_setpoint_change_cb)(double setpoint))
{
	int ret;

	mode_change_callback = mode_change_cb;
	temperature_setpoint_change_callback = temperature_setpoint_change_cb;

	ret = get_device_id_string(
		device_id,
		ARRAY_SIZE(device_id));
	if (ret < 0) {
		LOG_ERR("Could not get device ID");
		return ret;
	}

	LOG_INF("Device ID: %s", ac_config.dev.identifiers);
	LOG_INF("Version: %s", ac_config.dev.sw_version);

	ret = mqtt_init(device_id, last_will_topic, last_will_message);
	if (ret < 0) {
		LOG_ERR("could initialize MQTT");
		return ret;
	}

	LOG_INF("✏️  send discovery");
	ha_send_discovery();
	LOG_INF("✏️  subscribe to topics");
	ha_subscribe_to_topics();

	return 0;
}
```

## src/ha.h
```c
#ifndef HA_H_
#define HA_H_

int ha_start(void (*mode_change_cb)(const char *mode),
	     void (*temperature_setpoint_change_cb)(double setpoint));
int ha_send_current_temp(double current_temp);
int ha_send_current_state(bool enabled);

#endif /* HA_H_ */
```

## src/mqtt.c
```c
#include <zephyr/logging/log.h>
LOG_MODULE_REGISTER(mqtt, LOG_LEVEL_DBG);

#include <zephyr/kernel.h>
#include <zephyr/device.h>
#include <zephyr/drivers/watchdog.h>
#include <zephyr/net/mqtt.h>
#include <zephyr/net/socket.h>
#include <zephyr/random/rand32.h>

#include <assert.h>
#include <errno.h>
#include <string.h>

#include "mqtt.h"


#define MQTT_BUFFER_SIZE	1024


static uint8_t rx_buffer[MQTT_BUFFER_SIZE];
static uint8_t tx_buffer[MQTT_BUFFER_SIZE];

static struct mqtt_client client_ctx;

static struct mqtt_topic last_will_topic;
static struct mqtt_utf8 last_will_message;

static struct sockaddr_storage broker;

/* Socket Poll */
static struct zsock_pollfd fds[1];
static int nfds;

static const char *device_id;
static bool mqtt_connected;

static const struct mqtt_subscription *subscriptions;
static size_t number_of_subscriptions;

static struct k_work_delayable keepalive_work;

#if defined(CONFIG_DNS_RESOLVER)
static struct zsock_addrinfo hints;
static struct zsock_addrinfo *haddr;
#endif

static const struct device *wdt;
static int wdt_channel_id;


static void mqtt_event_handler(struct mqtt_client *const client,
			       const struct mqtt_evt *evt);
static void keepalive(struct k_work *work);


static void prepare_fds(struct mqtt_client *client)
{
	fds[0].events = ZSOCK_POLLIN;
	nfds = 1;
}

static void clear_fds(void)
{
	nfds = 0;
}

static int wait(int timeout)
{
	int rc = -EINVAL;

	if (nfds <= 0) {
		return rc;
	}

	rc = zsock_poll(fds, nfds, timeout);
	if (rc < 0) {
		LOG_ERR("poll error: %d", errno);
		return -errno;
	}

	return rc;
}

static void broker_init(void)
{
	struct sockaddr_in6 *broker6 = (struct sockaddr_in6 *)&broker;

	broker6->sin6_family = AF_INET6;
	broker6->sin6_port = htons(CONFIG_APP_MQTT_SERVER_PORT);

#if defined(CONFIG_DNS_RESOLVER)
	net_ipaddr_copy(&broker6->sin6_addr,
			&net_sin6(haddr->ai_addr)->sin6_addr);
#else
	zsock_inet_pton(AF_INET6, CONFIG_APP_MQTT_SERVER_ADDR, &broker6->sin_addr);
#endif

	k_work_init_delayable(&keepalive_work, keepalive);
}

static void client_init(struct mqtt_client *client)
{
	mqtt_client_init(client);

	broker_init();

	client->broker = &broker;
	client->evt_cb = mqtt_event_handler;

	client->client_id.utf8 = (uint8_t *)device_id;
	client->client_id.size = strlen(device_id);

	LOG_DBG("client id: %s", device_id);

	client->password = NULL;
	client->user_name = NULL;

	client->protocol_version = MQTT_VERSION_3_1_1;

	client->rx_buf = rx_buffer;
	client->rx_buf_size = sizeof(rx_buffer);
	client->tx_buf = tx_buffer;
	client->tx_buf_size = sizeof(tx_buffer);

	client->transport.type = MQTT_TRANSPORT_NON_SECURE;

	client->will_topic = &last_will_topic;
	client->will_message = &last_will_message;
	client->will_retain = 1;
}

static void mqtt_event_handler(struct mqtt_client *const client,
			       const struct mqtt_evt *evt)
{
	uint8_t data[33];
	int len;
	int bytes_read;

	switch (evt->type) {
	case MQTT_EVT_SUBACK:
		LOG_INF("SUBACK packet id: %u", evt->param.suback.message_id);
		break;

	case MQTT_EVT_UNSUBACK:
		LOG_INF("UNSUBACK packet id: %u", evt->param.suback.message_id);
		break;

	case MQTT_EVT_CONNACK:
		if (evt->result) {
			LOG_ERR("MQTT connect failed %d", evt->result);
			break;
		}

		mqtt_connected = true;
		LOG_DBG("MQTT client connected!");
		break;

	case MQTT_EVT_DISCONNECT:
		LOG_DBG("MQTT client disconnected %d", evt->result);

		mqtt_connected = false;
		clear_fds();
		break;

	case MQTT_EVT_PUBACK:
		if (evt->result) {
			LOG_ERR("MQTT PUBACK error %d", evt->result);
			break;
		}

		LOG_INF("PUBACK packet id: %u", evt->param.puback.message_id);
		break;

	case MQTT_EVT_PUBLISH:
		len = evt->param.publish.message.payload.len;

		LOG_INF("📨 MQTT publish received %d, %d bytes", evt->result, len);
		LOG_INF("   ├── id: %d, qos: %d", evt->param.publish.message_id,
			evt->param.publish.message.topic.qos);
		LOG_INF("   ├── topic: %.*s",
			evt->param.publish.message.topic.topic.size,
			evt->param.publish.message.topic.topic.utf8);

		while (len) {
			bytes_read = mqtt_read_publish_payload(&client_ctx,
					data,
					len >= sizeof(data) - 1 ?
					sizeof(data) - 1 : len);
			if (bytes_read < 0 && bytes_read != -EAGAIN) {
				LOG_ERR("failure to read payload");
				break;
			}

			data[bytes_read] = '\0';
			LOG_INF("   └── payload: %s", data);
			len -= bytes_read;
		}

		for (int i = 0; i < number_of_subscriptions; i++) {
			if (strncmp(subscriptions[i].topic,
				    evt->param.publish.message.topic.topic.utf8,
				    evt->param.publish.message.topic.topic.size) == 0) {
				subscriptions[i].callback(data);
				break;
			}
		}
		break;

	case MQTT_EVT_PINGRESP:
		LOG_INF("PINGRESP");
		LOG_INF("└── 🦴 feed watchdog");
		wdt_feed(wdt, wdt_channel_id);
		break;

	default:
		LOG_WRN("Unhandled MQTT event %d", evt->type);
		break;
	}
}

static void subscribe(struct mqtt_client *client, const char *topic)
{
	int err;
	struct mqtt_topic subs_topic;
	struct mqtt_subscription_list subs_list;

	subs_topic.topic.utf8 = topic;
	subs_topic.topic.size = strlen(topic);
	subs_topic.qos = MQTT_QOS_0_AT_MOST_ONCE;
	subs_list.list = &subs_topic;
	subs_list.list_count = 1U;
	subs_list.message_id = 1U;

	err = mqtt_subscribe(client, &subs_list);
	if (err) {
		LOG_ERR("Failed on topic %s", topic);
	}
}

static void keepalive(struct k_work *work)
{
	int rc;

	LOG_INF("🤖 mqtt keepalive");

	if (!mqtt_connected) {
		LOG_WRN("we are disconnected");
		return;
	}

	if (client_ctx.unacked_ping) {
		LOG_WRN("🤔 MQTT ping not acknowledged: %d",
			client_ctx.unacked_ping);
	}

	rc = mqtt_ping(&client_ctx);
	if (rc < 0) {
		LOG_ERR("mqtt_ping (%d)", rc);
		return;
	}

	k_work_reschedule(&keepalive_work, K_SECONDS(client_ctx.keepalive));
}

static void poll_thread_function(void)
{
	int rc;

	while (1) {
		if (wait(SYS_FOREVER_MS)) {
			rc = mqtt_input(&client_ctx);
			if (rc < 0) {
				LOG_ERR("mqtt_input (%d)", rc);
				return;
			}
		}
	}
}

K_THREAD_DEFINE(poll_thread, CONFIG_APP_POLL_THREAD_STACK_SIZE,
		poll_thread_function, NULL, NULL, NULL,
		K_LOWEST_APPLICATION_THREAD_PRIO, 0, SYS_FOREVER_MS);


#define MQTT_CONNECT_TIMEOUT_MS	1000
#define MQTT_ABORT_TIMEOUT_MS	5000
static int try_to_connect(struct mqtt_client *client)
{
	uint8_t retries = 3U;
	int rc;

	LOG_DBG("attempting to connect...");

	while (retries--) {
		client_init(client);

		rc = mqtt_connect(client);
		if (rc) {
			LOG_ERR("mqtt_connect failed %d", rc);
			continue;
		}

		prepare_fds(client);

		rc = wait(MQTT_CONNECT_TIMEOUT_MS);
		if (rc < 0) {
			mqtt_abort(client);
			return rc;
		}

		mqtt_input(client);

		if (mqtt_connected) {
			k_work_reschedule(&keepalive_work,
					  K_SECONDS(client->keepalive));
			k_thread_start(poll_thread);
			return 0;
		}

		mqtt_abort(client);

		wait(MQTT_ABORT_TIMEOUT_MS);
	}

	return -EINVAL;
}

#if defined(CONFIG_DNS_RESOLVER)
static int get_mqtt_broker_addrinfo(void)
{
	int retries = 3;
	int rc = -EINVAL;

	while (retries--) {
		hints.ai_family = AF_INET6;
		hints.ai_socktype = SOCK_STREAM;
		hints.ai_protocol = 0;

		rc = getaddrinfo(CONFIG_APP_MQTT_SERVER_HOSTNAME,
				       STRINGIFY(CONFIG_APP_MQTT_SERVER_PORT),
				       &hints, &haddr);
		if (rc == 0) {
			char atxt[INET6_ADDRSTRLEN] = { 0 };

			LOG_INF("DNS resolved for %s:%d",
			CONFIG_APP_MQTT_SERVER_HOSTNAME,
			CONFIG_APP_MQTT_SERVER_PORT);

			assert(haddr->ai_addr->sa_family == AF_INET6);

			inet_ntop(
			    AF_INET6,
			    &((const struct sockaddr_in6 *)haddr->ai_addr)->sin6_addr,
			    atxt, sizeof(atxt));

			LOG_INF("└── address: %s", atxt);

			return 0;
		}

		LOG_ERR("DNS not resolved for %s:%d, retrying",
			CONFIG_APP_MQTT_SERVER_HOSTNAME,
			CONFIG_APP_MQTT_SERVER_PORT);

		k_sleep(K_MSEC(200));
	}

	return rc;
}
#endif

static int connect_to_server(void)
{
	int rc = -EINVAL;

#if defined(CONFIG_DNS_RESOLVER)
	rc = get_mqtt_broker_addrinfo();
	if (rc) {
		return rc;
	}
#endif

	rc = try_to_connect(&client_ctx);
	if (rc) {
		return rc;
	}

	LOG_INF("mqtt keepalive: %ds", client_ctx.keepalive);

	return 0;
}

static int watchdog_init(void)
{
	int err;
	
	wdt = DEVICE_DT_GET(DT_ALIAS(watchdog0));

	if (!device_is_ready(wdt)) {
		LOG_ERR("%s: device not ready", wdt->name);
		return -ENODEV;
	}

	struct wdt_timeout_cfg wdt_config = {
		.window.min = 0,
		.window.max = (3 * 60 + 40) * MSEC_PER_SEC,
		.callback = NULL,
		.flags = WDT_FLAG_RESET_SOC,
	};

	wdt_channel_id = wdt_install_timeout(wdt, &wdt_config);
	if (wdt_channel_id < 0) {
		LOG_ERR("watchdog install error");
		return wdt_channel_id;
	}

	err = wdt_setup(wdt, WDT_OPT_PAUSE_HALTED_BY_DBG);
	if (err < 0) {
		LOG_ERR("watchdog setup error");
		return 0;
	}

	LOG_INF("🐶 watchdog started!");

	return 0;
}

int mqtt_publish_to_topic(const char *topic, char *payload, bool retain)
{
	int ret;
	struct mqtt_publish_param param;

	LOG_INF("📤 %s", topic);
	LOG_INF("   └── payload: %s", payload);

	param.message.topic.qos = MQTT_QOS_0_AT_MOST_ONCE;
	param.message.topic.topic.utf8 = (uint8_t *)topic;
	param.message.topic.topic.size = strlen(topic);
	param.message.payload.data = payload;
	param.message.payload.len = strlen(payload);
	param.message_id = sys_rand32_get();
	param.dup_flag = 0U;
	param.retain_flag = retain ? 1U : 0U;

	if (!mqtt_connected) {
		ret = connect_to_server();
		if (ret < 0) {
			return ret;
		}
	}

	ret = mqtt_publish(&client_ctx, &param);
	if (ret < 0) {
		LOG_ERR("mqtt_publish (%d)", ret);
		return ret;
	}

	return 0;
}

int mqtt_subscribe_to_topic(const struct mqtt_subscription *subs,
			    size_t nb_of_subs)
{
	int ret;

	if (!mqtt_connected) {
		ret = connect_to_server();
		if (ret < 0) {
			return ret;
		}
	}

	subscriptions = subs;
	number_of_subscriptions = nb_of_subs;

	for (int i = 0; i < nb_of_subs; i++) {
		LOG_INF("subscribing to topic: %s", subs[i].topic);
		subscribe(&client_ctx, subs[i].topic);		
	}

	return 0;
}

int mqtt_init(const char *dev_id,
	      const char *last_will_topic_string,
	      const char *last_will_message_string)
{
	int ret;

	device_id = dev_id;

	last_will_topic.topic.utf8 = last_will_topic_string;
	last_will_topic.topic.size = strlen(last_will_topic_string);
	last_will_topic.qos = MQTT_QOS_0_AT_MOST_ONCE;

	last_will_message.utf8 = last_will_message_string;
	last_will_message.size = strlen(last_will_message_string);

	ret = watchdog_init();
	if (ret < 0) {
		LOG_ERR("could not init watchdog");
		return ret;
	}

	return 0;
}
```

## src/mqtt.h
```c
#ifndef MQTT_H_
#define MQTT_H_

struct mqtt_subscription {
	const char *topic;
	void (*callback)(const char *);
};

int mqtt_publish_to_topic(const char *topic, char *payload, bool retain);
int mqtt_subscribe_to_topic(const struct mqtt_subscription *subs,
			    size_t nb_of_subs);
int mqtt_init(const char *dev_id,
	      const char *last_will_topic,
	      const char *last_will_message);

#endif /* MQTT_H_ */
```

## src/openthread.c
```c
#include <openthread/thread.h>
#include <zephyr/net/openthread.h>

#include <zephyr/logging/log.h>
LOG_MODULE_REGISTER(openthread, LOG_LEVEL_DBG);

#define CSL_LOW_LATENCY_PERIOD_MS 	10
#define CSL_NORMAL_LATENCY_PERIOD_MS 	500


bool openthread_ready = false;

static void on_thread_state_changed(otChangedFlags flags,
				    struct openthread_context *ot_context,
				    void *user_data)
{
	if (flags & OT_CHANGED_IP6_ADDRESS_ADDED) {
		LOG_INF("openthread ready!");
		openthread_ready = true;
	}
}

static struct openthread_state_changed_cb ot_state_chaged_cb = {
	.state_changed_cb = on_thread_state_changed
};

void openthread_set_csl_period_ms(int period_ms)
{
	otError otErr;
	otInstance *instance = openthread_get_default_instance();

	otErr = otLinkCslSetPeriod(instance,
			period_ms * 1000 / OT_US_PER_TEN_SYMBOLS);
}

void openthread_enable_ready_flag()
{
	openthread_state_changed_cb_register(openthread_get_default_context(),
		&ot_state_chaged_cb);
}

void openthread_set_low_latency()
{
	otLinkSetPollPeriod(openthread_get_default_instance(), 10);
	// openthread_set_csl_period_ms(CSL_LOW_LATENCY_PERIOD_MS);
}

void openthread_set_normal_latency()
{
	otLinkSetPollPeriod(openthread_get_default_instance(), 0);
	// openthread_set_csl_period_ms(CSL_NORMAL_LATENCY_PERIOD_MS);
}
```
